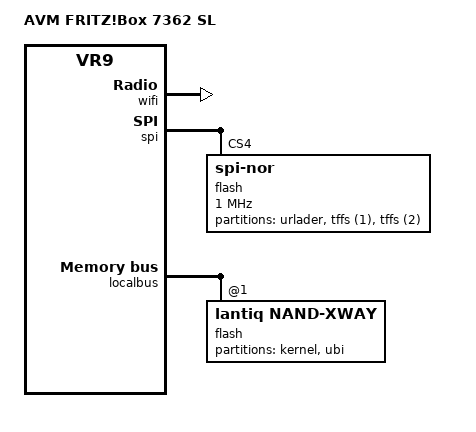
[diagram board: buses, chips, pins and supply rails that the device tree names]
// SPDX-License-Identifier: GPL-2.0-or-later OR MIT
/dts-v1/;

#include "FRITZ736X.dtsi"

#include <dt-bindings/input/input.h>
#include <dt-bindings/mips/lantiq_rcu_gphy.h>

/ {
	compatible = "avm,fritz7362sl", "avm,fritz736x", "lantiq,xway", "lantiq,vr9";
	model = "AVM FRITZ!Box 7362 SL";
};

&power_green {
	label = "fritz7362sl:green:power";
};

&power_red {
	label = "fritz7362sl:red:power";
};

&info_green {
	label = "fritz7362sl:green:info";
};

&wifi {
	label = "fritz7362sl:green:wlan";
};

&info_red {
	label = "fritz7362sl:red:info";
};

&dect {
	label = "fritz7362sl:green:dect";
};

&gpio {
	pins_spi_default: pins_spi_default {
		spi_in {
			lantiq,groups = "spi_di";
			lantiq,function = "spi";
		};

		spi_out {
			lantiq,groups = "spi_do", "spi_clk",
				"spi_cs4";
			lantiq,function = "spi";
			lantiq,output = <1>;
		};
	};
};

&state_default {
	nand {
		lantiq,groups = "nand ale", "nand cle",
				"nand cs1", "nand rd", "nand rdy";
		lantiq,function = "ebu";
	};

	pcie-rst {
		lantiq,pins = "io21";
		lantiq,open-drain = <1>;
		lantiq,output = <1>;
	};
};

&spi {
	status = "okay";
	pinctrl-names = "default";
	pinctrl-0 = <&pins_spi_default>;

	flash@4 {
		#address-cells = <1>;
		#size-cells = <1>;
		compatible = "jedec,spi-nor";
		reg = <4 0>;
		spi-max-frequency = <1000000>;

		urlader: partition@0 {
			reg = <0x0 0x40000>;
			label = "urlader";
			read-only;
		};

		partition@40000 {
			reg = <0x40000 0x60000>;
			label = "tffs (1)";
			read-only;
		};

		partition@A0000 {
			reg = <0xA0000 0x60000>;
			label = "tffs (2)";
			read-only;
		};
	};
};

&localbus {
	flash@1 {
		compatible = "lantiq,nand-xway";
		lantiq,cs1 = <1>;
		bank-width = <1>;
		reg = <1 0x0 0x2000000>;
		nand-ecc-mode = "on-die";

		partitions {
			compatible = "fixed-partitions";
			#address-cells = <1>;
			#size-cells = <1>;

			partition@0 {
				label = "kernel";
				reg = <0x0 0x400000>;
			};

			partition@400000 {
				label = "ubi";
				reg = <0x400000 0x7c00000>;
			};
		};
	};
};

&pcie0 {
	gpio-reset = <&gpio 21 GPIO_ACTIVE_LOW>;

	pcie@0 {
		#size-cells = <1>;
		#address-cells = <2>;
	};
};
